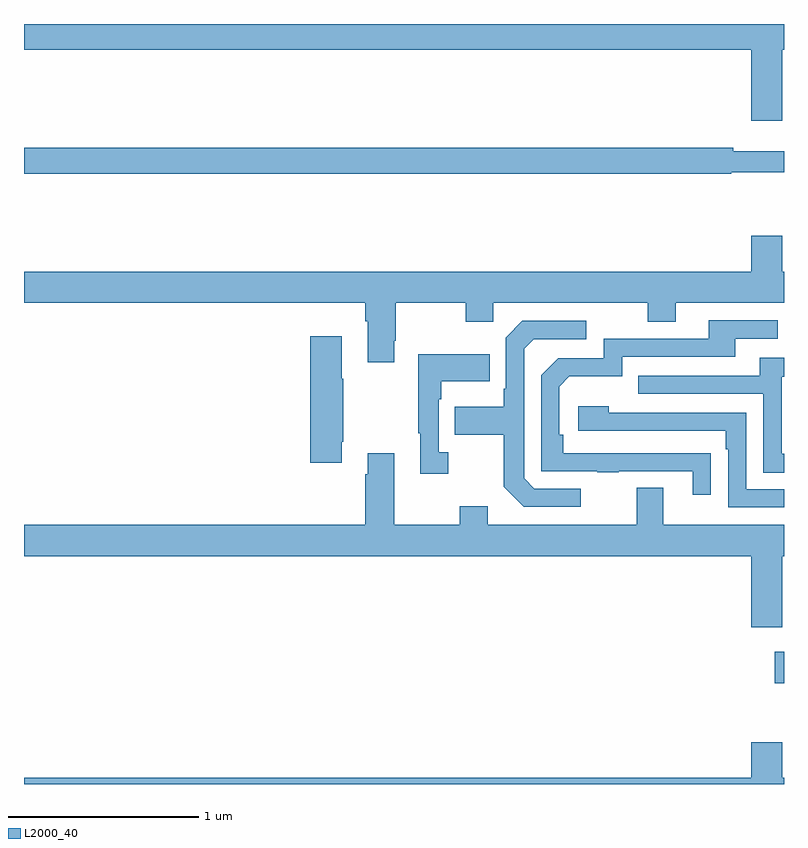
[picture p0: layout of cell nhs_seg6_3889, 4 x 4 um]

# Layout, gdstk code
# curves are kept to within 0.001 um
import gdstk
lib = gdstk.Library(unit=1e-6, precision=1e-09)
def R(c, l, rs):  # rectangles x0, y0, x1, y1
    for r in rs: c.add(gdstk.rectangle(r[:2], r[2:], *l))
def P(c, l, *ps):  # polygons
    for p in ps: c.add(gdstk.Polygon(p, *l))
L2000_40 = (2000, 40)

nhs_seg6_3889 = lib.new_cell('nhs_seg6_3889')
R(nhs_seg6_3889, L2000_40, [(344.952,916.03,345,916.195)])
P(nhs_seg6_3889, L2000_40, [(344.992,919.364),(345,919.364),(345,919.5),(341,919.5),(341,919.364),(344.828,919.364),(344.828,918.99),(344.992,918.99)],
  [(344.722,918.72),(345,918.72),(345,918.829),(344.732,918.829),(344.732,918.848),(341,918.848),(341,918.712),(344.722,918.712)],
  [(342.949,917.833),(342.957,917.833),(342.957,918.032),(343.324,918.032),(343.324,917.933),(343.47,917.933),(343.47,918.032),(344.284,918.032),(344.284,917.933),(344.431,917.933),(344.431,918.032),(345,918.032),(345,918.196),(344.992,918.196),(344.992,918.385),(344.828,918.385),(344.828,918.196),(341,918.196),(341,918.032),(342.797,918.032),(342.797,917.936),(342.809,917.936),(342.809,917.721),(342.949,917.721)],
  [(344.615,917.24),(343.838,917.241),(343.838,917.338),(343.818,917.338),(343.818,917.592),(343.871,917.645),(344.148,917.645),(344.148,917.748),(344.743,917.748),(344.743,917.844),(344.968,917.844),(344.968,917.94),(344.603,917.94),(344.603,917.844),(344.052,917.844),(344.052,917.742),(343.812,917.742),(343.722,917.652),(343.722,917.145),(344.017,917.145),(344.017,917.14),(344.129,917.14),(344.129,917.145),(344.519,917.145),(344.519,917.022),(344.615,917.022)],
  [(343.93,917.055),(343.686,917.055),(343.632,917.109),(343.632,917.79),(343.683,917.841),(343.96,917.841),(343.96,917.937),(343.623,917.937),(343.536,917.85),(343.536,917.581),(343.524,917.581),(343.524,917.485),(343.267,917.485),(343.267,917.338),(343.524,917.338),(343.524,917.065),(343.629,916.959),(343.93,916.959)],
  [(342.673,917.302),(342.681,917.302),(342.681,917.633),(342.673,917.633),(342.673,917.857),(342.506,917.857),(342.506,917.19),(342.673,917.19)],
  [(343.234,917.246),(343.182,917.246),(343.182,917.525),(343.195,917.525),(343.195,917.621),(343.451,917.621),(343.451,917.761),(343.074,917.761),(343.074,917.345),(343.085,917.345),(343.085,917.133),(343.234,917.133)],
  [(345,917.238),(344.988,917.238),(344.988,917.643),(345,917.643),(345,917.743),(344.873,917.743),(344.873,917.649),(344.233,917.649),(344.233,917.553),(344.892,917.553),(344.892,917.137),(345,917.137)],
  [(345,917.052),(344.802,917.052),(344.802,917.454),(344.078,917.454),(344.078,917.488),(343.917,917.488),(343.917,917.358),(344.693,917.358),(344.693,917.261),(344.706,917.261),(344.706,916.956),(345,916.956)],
  [(344.992,916.7),(345,916.7),(345,916.864),(344.365,916.864),(344.365,917.059),(344.225,917.059),(344.225,916.864),(343.441,916.864),(343.441,916.963),(343.294,916.963),(343.294,916.864),(342.949,916.864),(342.949,917.242),(342.809,917.242),(342.809,917.129),(342.797,917.129),(342.797,916.864),(341,916.864),(341,916.7),(344.828,916.7),(344.828,916.326),(344.992,916.326)],
  [(345,915.532),(344.992,915.532),(344.992,915.721),(344.828,915.721),(344.828,915.532),(341,915.532),(341,915.5),(345,915.5)])

lib.write_gds('nhs_seg6_3889.gds')
